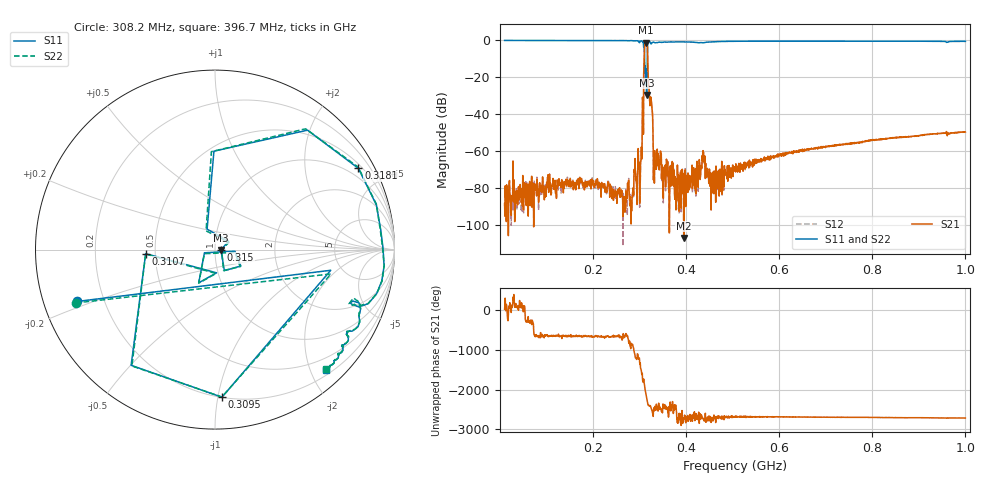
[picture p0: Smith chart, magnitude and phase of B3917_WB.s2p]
! Matrix data file written by TouchstoneData, EPCOS AG
! FILENAME: "B3917.WB.s2p"
! COMMENT: "1 Sep 2011 S11-NoP:1601;Caltype:;"
! INFO: nport=2, nfreq=1601
! DATE: "Thu Sep 29 10:32:36 2011"
! USER: "WeiLong Lin"
! port | pin | signal
!  1  |  2  |  In
!  2  |  5  |  Out
# MHZ S MA R 50
! freq  magS11 angS11  magS21 angS21  magS12 angS12  magS22 angS22
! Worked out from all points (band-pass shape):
!   1601 points, 10 MHz to 1 GHz, reference 50 ohm
!   highest |S21| = -1.13 dB at 313.2 MHz (marker M1); lowest = -106.8 dB at 394.9 MHz (marker M2)
!   |S21| within 3 dB of the highest: 310.6 MHz to 316.9 MHz (6.337 MHz wide, 2.02 % of centre)
!   lowest |S11| = -29.5 dB at 315 MHz (marker M3), VSWR 1.07, Z = 53.5 - j0.207 ohm
!   |S11| at or under -10 dB: 310.8 MHz to 316.7 MHz (5.847 MHz wide, 1.86 % of centre)
!   |S22| runs from -28.7 to 0.0 dB; largest |S21 - S12| = 0.0034
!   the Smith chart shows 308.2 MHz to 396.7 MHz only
!   S11 on the Smith chart (normalised r, x): 308.2 MHz: 0.10, -0.18; 309.5 MHz: 0.20, -1.03; 310.7 MHz: 0.44, -0.02; 315 MHz: 1.07, -0.00; 318.1 MHz: 0.64, +3.69; 396.7 MHz: 0.29, -2.25
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10  1 -1.5  3.898e-05 27.9  3.898e-05 -4.7  1 -1.5
175.2063  0.9946 -26.1  0.0001866 53.6  0.0001812 53.4  0.9939 -26.1
282.25  0.9899 -49.7  4.435e-05 -144.9  4.177e-05 -124.1  0.9891 -49.5
300.1938  0.9328 -64.3  3.905e-05 122.9  3.11e-05 131.8  0.9438 -64.0
303.9062  0.9677 -76.9  0.001317 -93.7  0.001326 -92.6  0.9677 -76.6
308.2375  0.8201 -159.4  0.002922 10.9  0.002902 10.9  0.8321 -159.0
309.475  0.8232 -87.3  0.2066 -7.0  0.2053 -6.5  0.8221 -87.3
310.7125  0.3869 -176.6  0.7101 -99.9  0.709 -99.7  0.3872 -176.4
313.1875  0.1111 -4.6  0.8783 77.3  0.878 77.5  0.1116 -8.1
315.0437  0.03358 -3.3  0.8677 -27.7  0.8677 -27.6  0.03685 -1.8
318.1375  0.9182 29.5  0.1514 132.6  0.1506 133.1  0.9207 29.9
332.3687  0.8714 -31.4  0.001052 20.8  0.001048 21.2  0.8747 -31.3
340.4125  0.8927 -33.7  0.0007863 53.8  0.0007715 53.8  0.8935 -33.7
352.1687  0.9028 -37.8  0.0003542 50.2  0.0003288 55.5  0.9047 -37.8
394.8625  0.912 -47.1  4.552e-06 166.6  6.428e-06 -30.2  0.9077 -46.9
396.7188  0.9101 -47.3  0.0001128 -120.8  0.0001212 -115.4  0.91 -47.2
436.9375  0.8697 -49.9  0.0009316 143.8  0.0009341 145.8  0.8651 -49.5
458.5938  0.9247 -51.6  0.0002865 -165.4  0.0002676 -160.6  0.9208 -51.5
505  0.9497 -58.1  0.0002996 -160.9  0.0003233 -160.5  0.9463 -57.7
670.2062  0.9563 -76.2  0.001174 -171.9  0.001171 -171.8  0.953 -75.6
835.4125  0.9541 -90.7  0.002261 177.2  0.002235 177.8  0.9528 -89.7
1000  0.9467 -102.9  0.003356 164.8  0.003347 165.0  0.9432 -101.4
